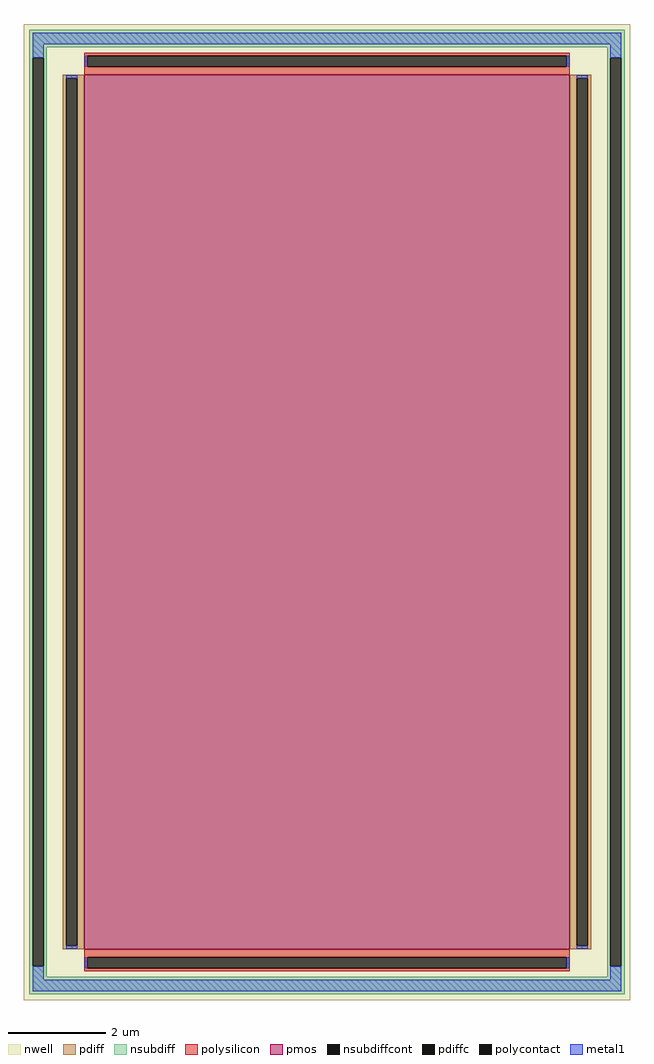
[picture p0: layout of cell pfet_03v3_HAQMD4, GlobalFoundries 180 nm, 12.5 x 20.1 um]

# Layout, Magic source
magic
tech gf180mcuD
magscale 1 10
<< nwell >>
rect -1250 -2010 1250 2010
<< pmos >>
rect -1000 -1800 1000 1800
<< pdiff >>
rect -1088 1787 -1000 1800
rect -1088 -1787 -1075 1787
rect -1029 -1787 -1000 1787
rect -1088 -1800 -1000 -1787
rect 1000 1787 1088 1800
rect 1000 -1787 1029 1787
rect 1075 -1787 1088 1787
rect 1000 -1800 1088 -1787
<< pdiffc >>
rect -1075 -1787 -1029 1787
rect 1029 -1787 1075 1787
<< nsubdiff >>
rect -1226 1914 1226 1986
rect -1226 1870 -1154 1914
rect -1226 -1870 -1213 1870
rect -1167 -1870 -1154 1870
rect 1154 1870 1226 1914
rect -1226 -1914 -1154 -1870
rect 1154 -1870 1167 1870
rect 1213 -1870 1226 1870
rect 1154 -1914 1226 -1870
rect -1226 -1986 1226 -1914
<< nsubdiffcont >>
rect -1213 -1870 -1167 1870
rect 1167 -1870 1213 1870
<< polysilicon >>
rect -1000 1879 1000 1892
rect -1000 1833 -987 1879
rect 987 1833 1000 1879
rect -1000 1800 1000 1833
rect -1000 -1833 1000 -1800
rect -1000 -1879 -987 -1833
rect 987 -1879 1000 -1833
rect -1000 -1892 1000 -1879
<< polycontact >>
rect -987 1833 987 1879
rect -987 -1879 987 -1833
<< metal1 >>
rect -1213 1927 1213 1973
rect -1213 1870 -1167 1927
rect -998 1833 -987 1879
rect 987 1833 998 1879
rect 1167 1870 1213 1927
rect -1075 1787 -1029 1798
rect -1075 -1798 -1029 -1787
rect 1029 1787 1075 1798
rect 1029 -1798 1075 -1787
rect -1213 -1927 -1167 -1870
rect -998 -1879 -987 -1833
rect 987 -1879 998 -1833
rect 1167 -1927 1213 -1870
rect -1213 -1973 1213 -1927
<< properties >>
string FIXED_BBOX -1190 -1950 1190 1950
string gencell pfet_03v3
string library gf180mcu
string parameters w 18.0 l 10.0 m 1 nf 1 diffcov 100 polycov 100 guard 1 glc 1 grc 1 gtc 0 gbc 0 tbcov 100 rlcov 100 topc 1 botc 1 poverlap 0 doverlap 1 lmin 0.28 wmin 0.22 class mosfet full_metal 1 compatible {pfet_03v3 pfet_06v0}
<< end >>
